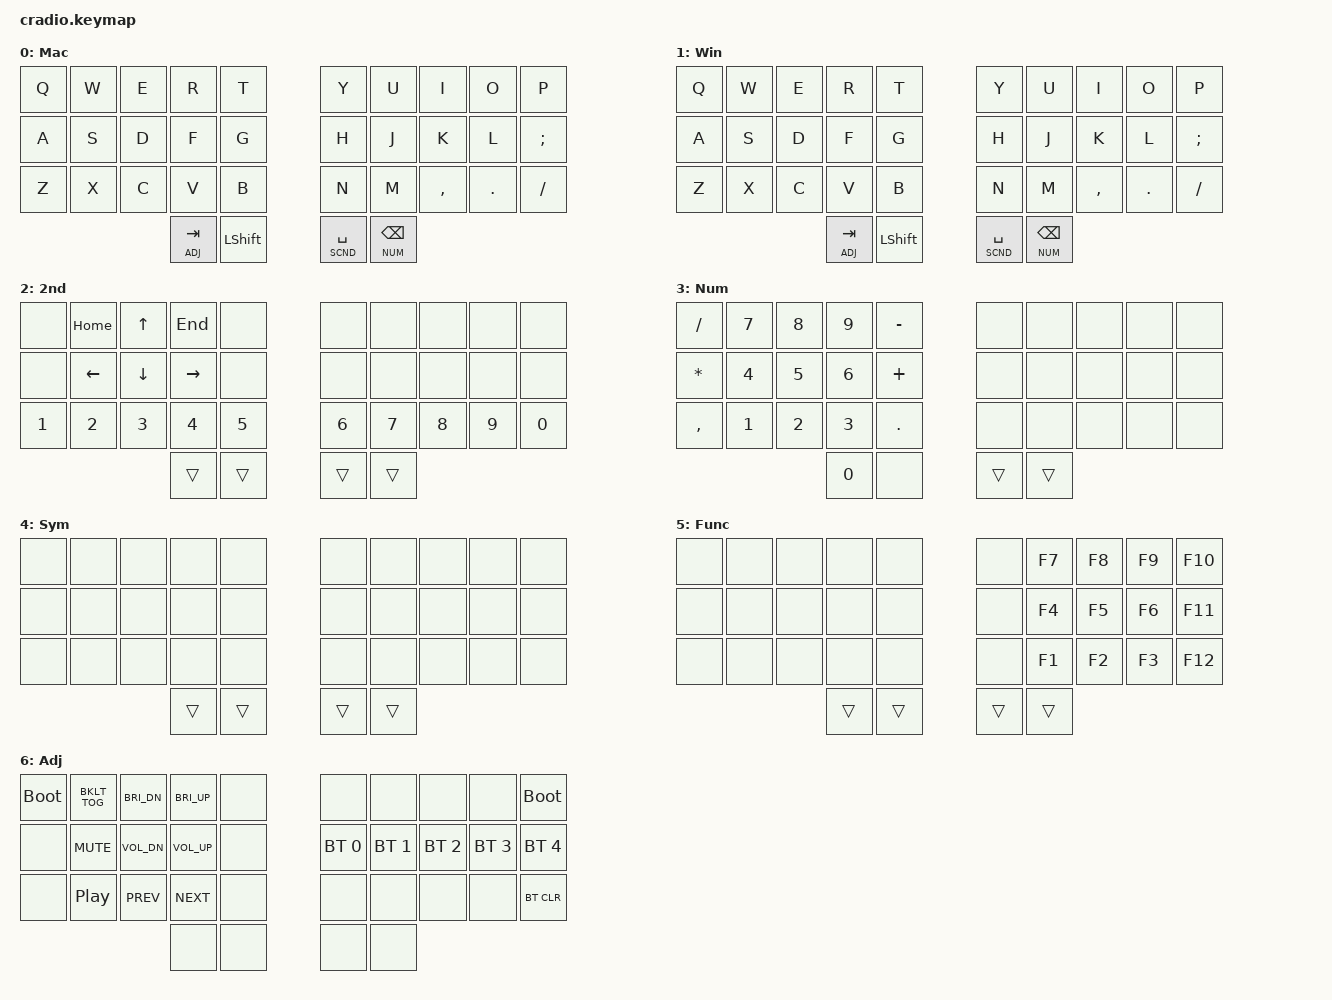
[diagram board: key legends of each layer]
/*
 * Copyright (c) 2021 Pete Johanson
 *
 * SPDX-License-Identifier: MIT
 */

#include <behaviors.dtsi>
#include <dt-bindings/zmk/keys.h>
#include <dt-bindings/zmk/bt.h>
#include <dt-bindings/zmk/outputs.h>

#define MAC  0
#define WIN  1
#define SCND 2
#define NUM  3
#define SYM  4
#define FUN  5
#define ADJ  6

// Home row mods macro
#define HRML(k1,k2,k3,k4) &ht LSHFT k1  &ht LALT k2  &ht LCTRL k3  &ht LGUI k4
#define HRMR(k1,k2,k3,k4) &ht RGUI k1  &ht RCTRL k2  &ht RALT k3  &ht RSHFT k4

/ {
    behaviors {
      bspc_del: backspace_delete {
        compatible = "zmk,behavior-mod-morph";
        label = "BACKSPACE_DELETE";
        #binding-cells = <0>;
        bindings = <&kp BACKSPACE>, <&kp DELETE>;
        mods = <(MOD_LSFT|MOD_RSFT)>;
        keep-mods = <(MOD_RSFT)>;
      };
      
      td_num_layer: tap_dance_num_layer {
        compatible = "zmk,behavior-tap-dance";
        #binding-cells = <0>;
        tapping-term-ms = <200>;
        bindings = <&mo NUM>, <&tog NUM>;
      };
      
      ht: hold_tap {
        compatible = "zmk,behavior-hold-tap";
        #binding-cells = <2>;
        flavor = "tap-preferred";
        tapping-term-ms = <220>;
        quick-tap-ms = <150>;
        require-prior-idle-ms = <100>;
        bindings = <&kp>, <&kp>;
      };
    };

    // conditional_layers {
    //   compatible = "zmk,conditional-layers";
    //   tri_layer {
    //     if-layers = <1 2>;
    //     then-layer = <3>;
    //   };
    // };

        combos {
                compatible = "zmk,combos";
                
                // Left Hand Combos
                combo_escape {
                        timeout-ms = <50>;
                        key-positions = <11 12>;
                        bindings = <&kp ESC>;
                };

                combo_tab {
                        timeout-ms = <50>;
                        key-positions = <12 13>;
                        bindings = <&kp TAB>;
                };

                combo_lctrl {
                        timeout-ms = <50>;
                        key-positions = <1 11>;
                        bindings = <&kp LCTRL>;
                };

                combo_lalt {
                        timeout-ms = <50>;
                        key-positions = <2 12>;
                        bindings = <&kp LALT>;
                };

                combo_lgui {
                        timeout-ms = <50>;
                        key-positions = <3 13>;
                        bindings = <&kp LGUI>;
                };

                combo_lglobe {
                        timeout-ms = <50>;
                        key-positions = <4 14>;
                        bindings = <&kp GLOBE>;
                };

                combo_undo_mac {
                        timeout-ms = <50>;
                        key-positions = <10 20>;
                        bindings = <&kp LG(Z)>;
                        layers = <MAC>;
                };

                combo_undo_win {
                        timeout-ms = <50>;
                        key-positions = <10 20>;
                        bindings = <&kp LC(Z)>;
                        layers = <WIN>;
                };

                combo_cut_mac {
                        timeout-ms = <50>;
                        key-positions = <11 21>;
                        bindings = <&kp LG(X)>;
                        layers = <MAC>;
                };

                combo_cut_win {
                        timeout-ms = <50>;
                        key-positions = <11 21>;
                        bindings = <&kp LC(X)>;
                        layers = <WIN>;
                };

                combo_copy_mac {
                        timeout-ms = <50>;
                        key-positions = <12 22>;
                        bindings = <&kp LG(C)>;
                        layers = <MAC>;
                };

                combo_copy_win {
                        timeout-ms = <50>;
                        key-positions = <12 22>;
                        bindings = <&kp LC(C)>;
                        layers = <WIN>;
                };

                combo_paste_mac {
                        timeout-ms = <50>;
                        key-positions = <13 23>;
                        bindings = <&kp LG(V)>;
                        layers = <MAC>;
                };

                combo_paste_win {
                        timeout-ms = <50>;
                        key-positions = <13 23>;
                        bindings = <&kp LC(V)>;
                        layers = <WIN>;
                };

                // Right Hand Combos
                combo_backspace {
                        timeout-ms = <50>;
                        key-positions = <16 17>;
                        bindings = <&bspc_del>;
                };

                combo_enter {
                        timeout-ms = <50>;
                        key-positions = <17 18>;
                        bindings = <&kp ENTER>;
                };
                
                combo_delete_word_mac{
                        timeout-ms = <50>;
                        key-positions = <6 7 8>;
                        bindings = <&kp LA(BACKSPACE)>;
                        layers = <MAC>;
                };

                combo_delete_word_win{
                        timeout-ms = <50>;
                        key-positions = <6 7 8>;
                        bindings = <&kp LC(BACKSPACE)>;
                        layers = <WIN>;
                };

                combo_rglobe {
                        timeout-ms = <50>;
                        key-positions = <5 15>;
                        bindings = <&kp GLOBE>;
                };

                combo_rgui {
                        timeout-ms = <50>;
                        key-positions = <6 16>;
                        bindings = <&kp RGUI>;
                };

                combo_ralt {
                        timeout-ms = <50>;
                        key-positions = <7 17>;
                        bindings = <&kp RALT>;
                };

                combo_rctrl {
                        timeout-ms = <50>;
                        key-positions = <8 18>;
                        bindings = <&kp RCTRL>;
                };

                combo_left_desktop_mac {
                        timeout-ms = <50>;
                        key-positions = <26 27>;
                        bindings = <&kp LC(LEFT_ARROW)>;
                        layers = <MAC>;
                };

                combo_right_desktop_mac {
                        timeout-ms = <50>;
                        key-positions = <27 28>;
                        bindings = <&kp LC(RIGHT_ARROW)>;
                        layers = <MAC>;
                };

                combo_left_desktop_win {
                        timeout-ms = <50>;
                        key-positions = <26 27>;
                        bindings = <&kp LC(LG(LEFT_ARROW))>;
                        layers = <WIN>;
                };

                combo_right_desktop_win {
                        timeout-ms = <50>;
                        key-positions = <27 28>;
                        bindings = <&kp LC(LG(RIGHT_ARROW))>;
                        layers = <WIN>;
                };

                combo_layout_change {
                        timeout-ms = <50>;
                        key-positions = <30 33>;
                        bindings = <&tog WIN>;
                };

                // Other Combos
                combo_left_bracket {
                        timeout-ms = <50>;
                        key-positions = <14 24>;
                        bindings = <&kp LBKT>;
                };

                combo_right_bracket {
                        timeout-ms = <50>;
                        key-positions = <15 25>;
                        bindings = <&kp RBKT>;
                };

                combo_grave {
                        timeout-ms = <50>;
                        key-positions = <16 26>;
                        bindings = <&kp GRAVE>;
                };

                combo_equal {
                        timeout-ms = <50>;
                        key-positions = <17 27>;
                        bindings = <&kp MINUS>;
                };

                combo_minus {
                        timeout-ms = <50>;
                        key-positions = <18 28>;
                        bindings = <&kp EQUAL>;
                };

                combo_single_quote {
                        timeout-ms = <50>;
                        key-positions = <19 29>;
                        bindings = <&kp SQT>;
                };

                combo_backslash {
                        timeout-ms = <50>;
                        key-positions = <9 19>;
                        bindings = <&kp BSLH>;
                };
        };
        
        keymap {
                compatible = "zmk,keymap";
                
                mac_layer {
                        display-name = "Mac";
                        bindings = <
                                        &kp Q &kp W &kp E &kp R &kp T   &kp Y &kp U &kp I     &kp O   &kp P
                                        &kp A &kp S &kp D &kp F &kp G   &kp H &kp J &kp K     &kp L   &kp SEMI
                                        &kp Z &kp X &kp C &kp V &kp B   &kp N &kp M &kp COMMA &kp DOT &kp FSLH
                                                &lt ADJ TAB &kp LSHFT   &lt SCND SPACE &lt NUM BACKSPACE
                                >;
                };

                win_layer {
                        display-name = "Win";
                        bindings = <
                                        &kp Q &kp W &kp E &kp R &kp T   &kp Y &kp U &kp I     &kp O   &kp P
                                        &kp A &kp S &kp D &kp F &kp G   &kp H &kp J &kp K     &kp L   &kp SEMI
                                        &kp Z &kp X &kp C &kp V &kp B   &kp N &kp M &kp COMMA &kp DOT &kp FSLH
                                                &lt ADJ TAB &kp LSHFT   &lt SCND SPACE &lt NUM BACKSPACE
                                >;
                };

                secondary_layer {
                        display-name = "2nd";
                        bindings = <
                                &none  &kp HOME &kp UP   &kp END   &none      &none  &none  &none  &none  &none
                                &none  &kp LEFT &kp DOWN &kp RIGHT &none      &none  &none  &none  &none  &none
                                &kp N1 &kp N2   &kp N3   &kp N4    &kp N5     &kp N6 &kp N7 &kp N8 &kp N9 &kp N0
                                                            &trans &trans     &trans &trans
                        >;
                };

                number_layer {
                        display-name = "Num";
                        bindings = <
                                   &kp FSLH  &kp N7 &kp N8 &kp N9 &kp MINUS   &none &none &none &none &none
                                   &kp ASTRK &kp N4 &kp N5 &kp N6 &kp PLUS    &none &none &none &none &none
                                   &kp COMMA &kp N1 &kp N2 &kp N3 &kp DOT     &none &none &none &none &none
                                                               &kp N0 &none   &trans &trans
                        >;
                };

                symbol_layer {
                        display-name = "Sym";
                        bindings = <
                                &none &none &none &none &none   &none &none &none &none &none
                                &none &none &none &none &none   &none &none &none &none &none
                                &none &none &none &none &none   &none &none &none &none &none
                                                &trans &trans   &trans &trans
                        >;
                };

                function_layer {
                        display-name = "Func";
                        bindings = <
                                &none &none &none &none &none   &none &kp F7 &kp F8 &kp F9 &kp F10
                                &none &none &none &none &none   &none &kp F4 &kp F5 &kp F6 &kp F11
                                &none &none &none &none &none   &none &kp F1 &kp F2 &kp F3 &kp F12
                                                &trans &trans   &trans &trans
                        >;
                };

                adjust_layer {
                        display-name = "Adj";
                        bindings = <
                                &bootloader &kp C_BKLT_TOG   &kp C_BRI_DN &kp C_BRI_UP &none   &none        &none        &none        &none        &bootloader
                                &none       &kp C_MUTE       &kp C_VOL_DN &kp C_VOL_UP &none   &bt BT_SEL 0 &bt BT_SEL 1 &bt BT_SEL 2 &bt BT_SEL 3 &bt BT_SEL 4
                                &none       &kp C_PLAY_PAUSE &kp C_PREV   &kp C_NEXT   &none   &none        &none        &none        &none        &bt BT_CLR
                                                                           &none &none   &none &none
                        >;
                };
        };
};

// Original Keymap
/*

        default_layer {
            bindings = <
        //╭──────────┬──────────┬──────────┬──────────┬──────────╮   ╭──────────┬──────────┬──────────┬──────────┬──────────╮
        //│  Q       │  W       │  E       │  R       │  T       │   │  Y       │  U       │  I       │  O       │  P       │
            &kp Q      &kp W      &kp E      &kp R      &kp T          &kp Y      &kp U      &kp I      &kp O      &kp P
        //├──────────┼──────────┼──────────┼──────────┼──────────┤   ├──────────┼──────────┼──────────┼──────────┼──────────┤
        //│  A       │  S       │  D       │  F       │  G       │   │  H       │  J       │  K       │  L       │ ' "      │
            HRML(A,        S,         D,         F)     &kp G          &kp H      HRMR(J,        K,         L,        SQT)
        //├──────────┼──────────┼──────────┼──────────┼──────────┤   ├──────────┼──────────┼──────────┼──────────┼──────────┤
        //│  Z       │  X       │  C       │  V       │  B       │   │  N       │  M       │ , <      │ . >      │ / ?      │
            &kp Z      &kp X      &kp C      &kp V      &kp B          &kp N      &kp M      &kp COMMA  &kp DOT    &kp FSLH
        //╰──────────┴──────────┴──────────┼──────────┼──────────┤   ├──────────┼──────────┼──────────┴──────────┴──────────╯
                                            &lt 2 TAB   &kp ENTER     &kp SPACE  &lt 1 BSPC
        //                                 ╰──────────┴──────────╯   ╰──────────┴──────────╯
            >;
        };

        right_layer {
            bindings = <
        //╭──────────┬──────────┬──────────┬──────────┬──────────╮   ╭──────────┬──────────┬──────────┬──────────┬──────────╮
        //│ INSERT   │  1       │  2       │  3       │          │   │ HOME     │ PAGE DN  │ PAGE UP  │ END      │  :       │
            &kp INS    &kp N1     &kp N2     &kp N3     &trans         &kp HOME   &kp PG_DN  &kp PG_UP  &kp END    &kp COLON
        //├──────────┼──────────┼──────────┼──────────┼──────────┤   ├──────────┼──────────┼──────────┼──────────┼──────────┤
        //│ DELETE   │  4       │  5       │  6       │          │   │ LEFT     │ DOWN     │ UP       │ RIGHT    │  ;       │
            &kp DEL    &kp N4     &kp N5     &kp N6     &trans         &kp LEFT   &kp DOWN   &kp UP   &kp RIGHT   &kp SEMI
        //├──────────┼──────────┼──────────┼──────────┼──────────┤   ├──────────┼──────────┼──────────┼──────────┼──────────┤
        //│ CAPS     │  7       │  8       │  9       │  0       │   │          │          │          │          │          │
           &caps_word  &kp N7     &kp N8     &kp N9     &kp N0         &trans     &trans     &trans     &trans     &trans
        //╰──────────┴──────────┴──────────┼──────────┼──────────┤   ├──────────┼──────────┼──────────┴──────────┴──────────╯
                                             &trans     &kp ESC        &trans     &trans
        //                                 ╰──────────┴──────────╯   ╰──────────┴──────────╯
            >;
        };

        left_layer {
            bindings = <
        //╭──────────┬──────────┬──────────┬──────────┬──────────╮   ╭──────────┬──────────┬──────────┬──────────┬──────────╮
        //│          │  [       │  {       │  }       │          │   │  ^       │  (       │  )       │  ]       │  ~       │
            &trans     &kp LBKT   &kp LBRC   &kp RBRC   &trans         &kp CARET  &kp LPAR   &kp RPAR   &kp RBKT   &kp TILDE
        //├──────────┼──────────┼──────────┼──────────┼──────────┤   ├──────────┼──────────┼──────────┼──────────┼──────────┤
        //│  !       │  @       │  #       │  $       │  %       │   │  *       │  -       │  =       │  \       │  `       │
            &kp EXCL   &kp AT     &kp HASH   &kp DLLR   &kp PRCNT      &kp ASTRK  &kp MINUS  &kp EQUAL  &kp BSLH   &kp GRAVE
        //├──────────┼──────────┼──────────┼──────────┼──────────┤   ├──────────┼──────────┼──────────┼──────────┼──────────┤
        //│          │          │          │          │          │   │  &       │  _       │  +       │  │       │          │
            &trans     &trans     &trans     &trans     &trans         &kp AMPS   &kp UNDER  &kp PLUS   &kp PIPE   &trans
        //╰──────────┴──────────┴──────────┼──────────┼──────────┤   ├──────────┼──────────┼──────────┴──────────┴──────────╯
                                             &trans     &trans         &trans     &trans
        //                                 ╰──────────┴──────────╯   ╰──────────┴──────────╯
            >;
        };

        tri_layer {
            bindings = <
        //╭──────────┬──────────┬──────────┬──────────┬──────────╮   ╭──────────┬──────────┬──────────┬──────────┬──────────╮
        //│ RESET    │          │          │          │PROFILE 0 │   │          │          │          │          │  RESET   │
           &sys_reset  &trans     &trans     &trans    &bt BT_SEL 0    &trans     &trans     &trans     &trans    &sys_reset
        //├──────────┼──────────┼──────────┼──────────┼──────────┤   ├──────────┼──────────┼──────────┼──────────┼──────────┤
        //│BOOTLOADER│          │          │          │PROFILE 1 │   │          │          │          │          │BOOTLOADER│
          &bootloader  &trans     &trans     &trans    &bt BT_SEL 1    &trans     &trans     &trans     &trans    &bootloader
        //├──────────┼──────────┼──────────┼──────────┼──────────┤   ├──────────┼──────────┼──────────┼──────────┼──────────┤
        //│          │          │          │ CLEAR BT │PROFILE 2 │   │          │          │          │          │          │
            &trans     &trans     &trans    &bt BT_CLR &bt BT_SEL 2    &trans     &trans     &trans     &trans     &trans
        //╰──────────┴──────────┴──────────┼──────────┼──────────┤   ├──────────┼──────────┼──────────┴──────────┴──────────╯
                                             &trans     &trans         &trans     &trans
        //                                 ╰──────────┴──────────╯   ╰──────────┴──────────╯
            >;
        };
*/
